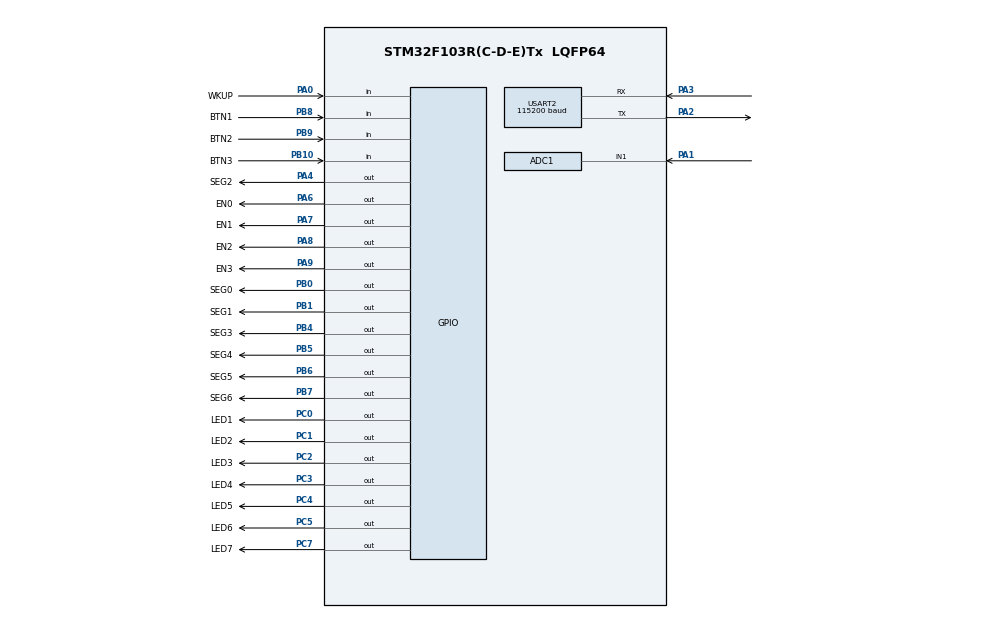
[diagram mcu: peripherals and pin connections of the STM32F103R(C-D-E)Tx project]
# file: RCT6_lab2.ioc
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ADC1.Channel-0\#ChannelRegularConversion=ADC_CHANNEL_1
ADC1.ContinuousConvMode=ENABLE
ADC1.NbrOfConversionFlag=1
ADC1.Rank-0\#ChannelRegularConversion=1
ADC1.SamplingTime-0\#ChannelRegularConversion=ADC_SAMPLETIME_1CYCLE_5
ADC1.master=1
Mcu.Family=STM32F1
Mcu.Name=STM32F103R(C-D-E)Tx
Mcu.Package=LQFP64
NVIC.PriorityGroup=NVIC_PRIORITYGROUP_4
NVIC.TIM2_IRQn=true\:2\:0\:true\:false\:true\:true\:true\:true
NVIC.USART2_IRQn=true\:1\:0\:true\:false\:true\:true\:true\:true
PA0-WKUP.GPIO_Label=WKUP
PA0-WKUP.Signal=GPIO_Input
PA1.Signal=ADCx_IN1
PA13.Mode=Serial_Wire
PA13.Signal=SYS_JTMS-SWDIO
PA14.Mode=Serial_Wire
PA14.Signal=SYS_JTCK-SWCLK
PA2.Mode=Asynchronous
PA2.Signal=USART2_TX
PA3.Mode=Asynchronous
PA3.Signal=USART2_RX
PA4.GPIO_Label=SEG2
PA4.Signal=GPIO_Output
PA6.GPIO_Label=EN0
PA6.Signal=GPIO_Output
PA7.GPIO_Label=EN1
PA7.Signal=GPIO_Output
PA8.GPIO_Label=EN2
PA8.Signal=GPIO_Output
PA9.GPIO_Label=EN3
PA9.Signal=GPIO_Output
PB0.GPIO_Label=SEG0
PB0.Signal=GPIO_Output
PB1.GPIO_Label=SEG1
PB1.Signal=GPIO_Output
PB10.GPIO_Label=BTN3
PB10.Signal=GPIO_Input
PB4.GPIO_Label=SEG3
PB4.Signal=GPIO_Output
PB5.GPIO_Label=SEG4
PB5.Signal=GPIO_Output
PB6.GPIO_Label=SEG5
PB6.Signal=GPIO_Output
PB7.GPIO_Label=SEG6
PB7.Signal=GPIO_Output
PB8.GPIO_Label=BTN1
PB8.Signal=GPIO_Input
PB9.GPIO_Label=BTN2
PB9.Signal=GPIO_Input
PC0.GPIO_Label=LED1
PC0.Signal=GPIO_Output
PC1.GPIO_Label=LED2
PC1.Signal=GPIO_Output
PC2.GPIO_Label=LED3
PC2.Signal=GPIO_Output
PC3.GPIO_Label=LED4
PC3.Signal=GPIO_Output
PC4.GPIO_Label=LED5
PC4.Signal=GPIO_Output
PC5.GPIO_Label=LED6
PC5.Signal=GPIO_Output
PC7.GPIO_Label=LED7
PC7.Signal=GPIO_Output
ProjectManager.HeapSize=0x200
ProjectManager.StackSize=0x400
ProjectManager.TargetToolchain=STM32CubeIDE
RCC.APB1Freq_Value=8000000
RCC.APB2Freq_Value=8000000
SH.ADCx_IN1.0=ADC1_IN1,IN1
TIM2.Period=9
TIM2.Prescaler=799
USART2.BaudRate=115200
USART2.VirtualMode=VM_ASYNC
VP_TIM2_VS_ClockSourceINT.Mode=Internal
board=custom

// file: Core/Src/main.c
/* USER CODE BEGIN Header */
/**
  ******************************************************************************
  * @file           : main.c
  * @brief          : Main program body
  ******************************************************************************
  * @attention
  *
  * Copyright (c) 2024 STMicroelectronics.
  * All rights reserved.
  *
  * This software is licensed under terms that can be found in the LICENSE file
  * in the root directory of this software component.
  * If no LICENSE file comes with this software, it is provided AS-IS.
  *
  ******************************************************************************
  */
/* USER CODE END Header */
#include "main.h"

/* USER CODE BEGIN Includes */
#include "timer.h"
#include "7seg.h"
#include "matrix.h"
#include "button.h"
#include "traffic_light.h"
#include "global.h"
#include "automatic.h"
#include "manual.h"
#include "scheduler.h"
#include "usart2.h"
#include "string.h"
/* USER CODE END Includes */

ADC_HandleTypeDef hadc1;

TIM_HandleTypeDef htim2;

UART_HandleTypeDef huart2;

void SystemClock_Config(void);
static void MX_GPIO_Init(void);
static void MX_TIM2_Init(void);
static void MX_ADC1_Init(void);
static void MX_USART2_UART_Init(void);

/* USER CODE BEGIN 0 */
//uint8_t temp = 0;
//void HAL_UART_RxCpltCallback(UART_HandleTypeDef* huart) {
//    if (huart->Instance == USART2) {
//        HAL_UART_Transmit(&huart2, &temp, 1, 50);
//        HAL_UART_Receive_IT(&huart2, &temp, 1);
//    }
//}

void HAL_UART_RxCpltCallback(UART_HandleTypeDef *huart) {
    if (huart->Instance == USART2) {
    	if (temp == '!') {
    		if (index_buffer > 24) {
    			index_buffer = 0;
    		}
    		current_index_buffer = index_buffer;
    		cmd_flag = 1;
    	}
        buffer[index_buffer] = temp;
    	if (temp == '#') {
    		cmd_end_flag = 1;
    		index_buffer = 0;
    	}
        index_buffer++;
        if (index_buffer == MAX_BUFFER_SIZE) index_buffer = 0;
        buffer_flag = 1;
        HAL_UART_Receive_IT(&huart2, &temp, 1);
    }
}
/* USER CODE END 0 */

int main(void)
{

  /* MCU Configuration--------------------------------------------------------*/

  /* Reset of all peripherals, Initializes the Flash interface and the Systick. */
  HAL_Init();

  /* Configure the system clock */
  SystemClock_Config();

  /* Initialize all configured peripherals */
  MX_GPIO_Init();
  MX_TIM2_Init();
  MX_ADC1_Init();
  MX_USART2_UART_Init();
  /* USER CODE BEGIN 2 */
  HAL_TIM_Base_Start_IT(&htim2);
  HAL_UART_Receive_IT(&huart2, &temp, 1);
  HAL_ADC_Start_IT(&hadc1);

  	  //LAB4
//  SCH_Add_Task(initButtons, 	100, 0);
//  SCH_Add_Task(getKeyInput, 	100, 1);
//  SCH_Add_Task(autoUpdate7Seg, 	100, 5);
//  SCH_Add_Task(blinkDot, 		100, 1000);
//  SCH_Add_Task(fsm_automatic, 	100, 1);
//  SCH_Add_Task(fsm_manual, 		100, 1);
//  SCH_Add_Task(fsm_setting, 	100, 1);

  	  //LAB3
//  initButtons(); //Init for button_array
//  setTimer(4, 1000);

  /* USER CODE END 2 */

  /* Infinite loop */
  while (1)
  {

    /* USER CODE BEGIN 3 */

  	  //LAB3
//	  fsm_automatic();
//	  fsm_manual();
//	  fsm_setting();
//	  if (timer_flag[4] == 1) {
//		  setTimer(4, 1000);
//		  HAL_GPIO_TogglePin(LED7_GPIO_Port, LED7_Pin);
//	  }

  	  //LAB4
//	  SCH_Dispatch_Tasks();

	  //LAB5
	    if (buffer_flag == 1) {
	        command_parser_fsm();
	        buffer_flag = 0;
	    }
	    uart_communication_fsm();
  }
  /* USER CODE END 3 */
}

void SystemClock_Config(void)
{
  RCC_OscInitTypeDef RCC_OscInitStruct = {0};
  RCC_ClkInitTypeDef RCC_ClkInitStruct = {0};
  RCC_PeriphCLKInitTypeDef PeriphClkInit = {0};

  /** Initializes the RCC Oscillators according to the specified parameters
  * in the RCC_OscInitTypeDef structure.
  */
  RCC_OscInitStruct.OscillatorType = RCC_OSCILLATORTYPE_HSI;
  RCC_OscInitStruct.HSIState = RCC_HSI_ON;
  RCC_OscInitStruct.HSICalibrationValue = RCC_HSICALIBRATION_DEFAULT;
  RCC_OscInitStruct.PLL.PLLState = RCC_PLL_NONE;
  if (HAL_RCC_OscConfig(&RCC_OscInitStruct) != HAL_OK)
  {
    Error_Handler();
  }

  /** Initializes the CPU, AHB and APB buses clocks
  */
  RCC_ClkInitStruct.ClockType = RCC_CLOCKTYPE_HCLK|RCC_CLOCKTYPE_SYSCLK
                              |RCC_CLOCKTYPE_PCLK1|RCC_CLOCKTYPE_PCLK2;
  RCC_ClkInitStruct.SYSCLKSource = RCC_SYSCLKSOURCE_HSI;
  RCC_ClkInitStruct.AHBCLKDivider = RCC_SYSCLK_DIV1;
  RCC_ClkInitStruct.APB1CLKDivider = RCC_HCLK_DIV1;
  RCC_ClkInitStruct.APB2CLKDivider = RCC_HCLK_DIV1;

  if (HAL_RCC_ClockConfig(&RCC_ClkInitStruct, FLASH_LATENCY_0) != HAL_OK)
  {
    Error_Handler();
  }
  PeriphClkInit.PeriphClockSelection = RCC_PERIPHCLK_ADC;
  PeriphClkInit.AdcClockSelection = RCC_ADCPCLK2_DIV2;
  if (HAL_RCCEx_PeriphCLKConfig(&PeriphClkInit) != HAL_OK)
  {
    Error_Handler();
  }
}

static void MX_ADC1_Init(void)
{

  ADC_ChannelConfTypeDef sConfig = {0};

  /** Common config
  */
  hadc1.Instance = ADC1;
  hadc1.Init.ScanConvMode = ADC_SCAN_DISABLE;
  hadc1.Init.ContinuousConvMode = ENABLE;
  hadc1.Init.DiscontinuousConvMode = DISABLE;
  hadc1.Init.ExternalTrigConv = ADC_SOFTWARE_START;
  hadc1.Init.DataAlign = ADC_DATAALIGN_RIGHT;
  hadc1.Init.NbrOfConversion = 1;
  if (HAL_ADC_Init(&hadc1) != HAL_OK)
  {
    Error_Handler();
  }

  /** Configure Regular Channel
  */
  sConfig.Channel = ADC_CHANNEL_1;
  sConfig.Rank = ADC_REGULAR_RANK_1;
  sConfig.SamplingTime = ADC_SAMPLETIME_1CYCLE_5;
  if (HAL_ADC_ConfigChannel(&hadc1, &sConfig) != HAL_OK)
  {
    Error_Handler();
  }

}

static void MX_TIM2_Init(void)
{

  TIM_ClockConfigTypeDef sClockSourceConfig = {0};
  TIM_MasterConfigTypeDef sMasterConfig = {0};

  htim2.Instance = TIM2;
  htim2.Init.Prescaler = 799;
  htim2.Init.CounterMode = TIM_COUNTERMODE_UP;
  htim2.Init.Period = 9;
  htim2.Init.ClockDivision = TIM_CLOCKDIVISION_DIV1;
  htim2.Init.AutoReloadPreload = TIM_AUTORELOAD_PRELOAD_DISABLE;
  if (HAL_TIM_Base_Init(&htim2) != HAL_OK)
  {
    Error_Handler();
  }
  sClockSourceConfig.ClockSource = TIM_CLOCKSOURCE_INTERNAL;
  if (HAL_TIM_ConfigClockSource(&htim2, &sClockSourceConfig) != HAL_OK)
  {
    Error_Handler();
  }
  sMasterConfig.MasterOutputTrigger = TIM_TRGO_RESET;
  sMasterConfig.MasterSlaveMode = TIM_MASTERSLAVEMODE_DISABLE;
  if (HAL_TIMEx_MasterConfigSynchronization(&htim2, &sMasterConfig) != HAL_OK)
  {
    Error_Handler();
  }

}

static void MX_USART2_UART_Init(void)
{

  huart2.Instance = USART2;
  huart2.Init.BaudRate = 115200;
  huart2.Init.WordLength = UART_WORDLENGTH_8B;
  huart2.Init.StopBits = UART_STOPBITS_1;
  huart2.Init.Parity = UART_PARITY_NONE;
  huart2.Init.Mode = UART_MODE_TX_RX;
  huart2.Init.HwFlowCtl = UART_HWCONTROL_NONE;
  huart2.Init.OverSampling = UART_OVERSAMPLING_16;
  if (HAL_UART_Init(&huart2) != HAL_OK)
  {
    Error_Handler();
  }

}

static void MX_GPIO_Init(void)
{
  GPIO_InitTypeDef GPIO_InitStruct = {0};

  /* GPIO Ports Clock Enable */
  __HAL_RCC_GPIOC_CLK_ENABLE();
  __HAL_RCC_GPIOA_CLK_ENABLE();
  __HAL_RCC_GPIOB_CLK_ENABLE();

  /*Configure GPIO pin Output Level */
  HAL_GPIO_WritePin(GPIOC, LED1_Pin|LED2_Pin|LED3_Pin|LED4_Pin
                          |LED5_Pin|LED6_Pin|LED7_Pin, GPIO_PIN_RESET);

  /*Configure GPIO pin Output Level */
  HAL_GPIO_WritePin(GPIOA, SEG2_Pin|EN0_Pin|EN1_Pin|EN2_Pin
                          |EN3_Pin, GPIO_PIN_RESET);

  /*Configure GPIO pin Output Level */
  HAL_GPIO_WritePin(GPIOB, SEG0_Pin|SEG1_Pin|SEG3_Pin|SEG4_Pin
                          |SEG5_Pin|SEG6_Pin, GPIO_PIN_RESET);

  /*Configure GPIO pins : LED1_Pin LED2_Pin LED3_Pin LED4_Pin
                           LED5_Pin LED6_Pin LED7_Pin */
  GPIO_InitStruct.Pin = LED1_Pin|LED2_Pin|LED3_Pin|LED4_Pin
                          |LED5_Pin|LED6_Pin|LED7_Pin;
  GPIO_InitStruct.Mode = GPIO_MODE_OUTPUT_PP;
  GPIO_InitStruct.Pull = GPIO_NOPULL;
  GPIO_InitStruct.Speed = GPIO_SPEED_FREQ_LOW;
  HAL_GPIO_Init(GPIOC, &GPIO_InitStruct);

  /*Configure GPIO pin : WKUP_Pin */
  GPIO_InitStruct.Pin = WKUP_Pin;
  GPIO_InitStruct.Mode = GPIO_MODE_INPUT;
  GPIO_InitStruct.Pull = GPIO_NOPULL;
  HAL_GPIO_Init(WKUP_GPIO_Port, &GPIO_InitStruct);

  /*Configure GPIO pins : SEG2_Pin EN0_Pin EN1_Pin EN2_Pin
                           EN3_Pin */
  GPIO_InitStruct.Pin = SEG2_Pin|EN0_Pin|EN1_Pin|EN2_Pin
                          |EN3_Pin;
  GPIO_InitStruct.Mode = GPIO_MODE_OUTPUT_PP;
  GPIO_InitStruct.Pull = GPIO_NOPULL;
  GPIO_InitStruct.Speed = GPIO_SPEED_FREQ_LOW;
  HAL_GPIO_Init(GPIOA, &GPIO_InitStruct);

  /*Configure GPIO pins : SEG0_Pin SEG1_Pin SEG3_Pin SEG4_Pin
                           SEG5_Pin SEG6_Pin */
  GPIO_InitStruct.Pin = SEG0_Pin|SEG1_Pin|SEG3_Pin|SEG4_Pin
                          |SEG5_Pin|SEG6_Pin;
  GPIO_InitStruct.Mode = GPIO_MODE_OUTPUT_PP;
  GPIO_InitStruct.Pull = GPIO_NOPULL;
  GPIO_InitStruct.Speed = GPIO_SPEED_FREQ_LOW;
  HAL_GPIO_Init(GPIOB, &GPIO_InitStruct);

  /*Configure GPIO pins : BTN3_Pin BTN1_Pin BTN2_Pin */
  GPIO_InitStruct.Pin = BTN3_Pin|BTN1_Pin|BTN2_Pin;
  GPIO_InitStruct.Mode = GPIO_MODE_INPUT;
  GPIO_InitStruct.Pull = GPIO_NOPULL;
  HAL_GPIO_Init(GPIOB, &GPIO_InitStruct);

}

/* USER CODE BEGIN 4 */
void HAL_TIM_PeriodElapsedCallback(TIM_HandleTypeDef *htim)
{
//	SCH_Update();
	timerRun();
//	getKeyInput();
//	autoUpdate7Seg();
}
/* USER CODE END 4 */

void Error_Handler(void)
{
  __disable_irq();
  while (1)
  {
  }
}
